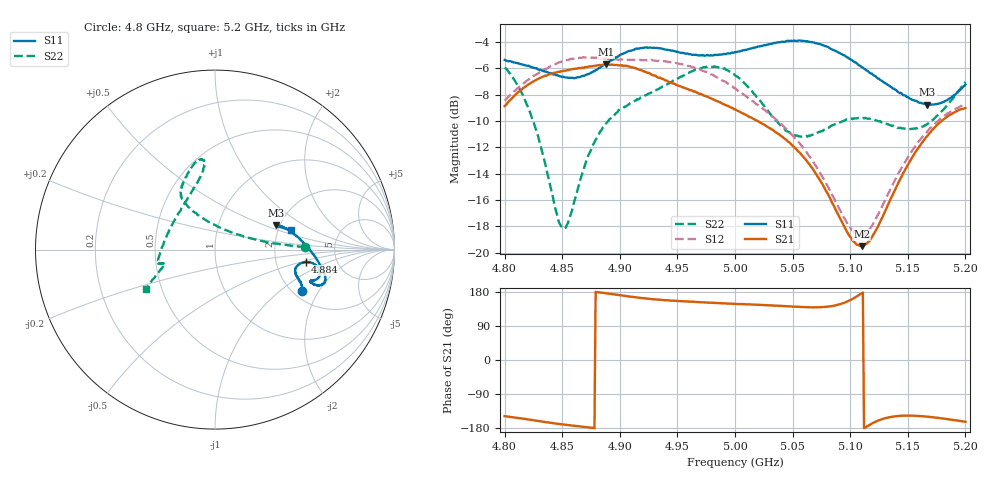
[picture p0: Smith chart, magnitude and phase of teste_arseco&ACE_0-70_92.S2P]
! Network Analyzer HP8722D
! Hewlett-Packard
! Data name: Linha & Wilkinson
! Saver's name: Rodrigo Anjos
! Comments: Teste da utilização de aquisição
! continua pelo VNA HP8722D
! Time and date: 8/5/2025 13:31
!  Frequency  S11  S21  S12  S22
# HZ  S  MA R 50
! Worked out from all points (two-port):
!   401 points, 4.8 GHz to 5.2 GHz, reference 50 ohm
!   highest |S21| = -5.70 dB at 4.888 GHz (marker M1); lowest = -19.5 dB at 5.11 GHz (marker M2)
!   |S21| within 3 dB of the highest: 4.802 GHz to 4.989 GHz (187.4 MHz wide, 3.83 % of centre)
!   lowest |S11| = -8.8 dB at 5.167 GHz (marker M3), VSWR 2.15, Z = 95 + j29.7 ohm
!   |S11| at or under -10 dB: nowhere
!   |S22| runs from -18.2 to -5.8 dB; largest |S21 - S12| = 1.1
!   S11 on the Smith chart (normalised r, x): 4.8 GHz: 2.24, -1.46; 4.884 GHz: 2.96, -0.54; 5.2 GHz: 2.33, +0.64
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4.8e9  0.5392 -25.5  0.36 -148.2  0.3775 11.3  0.5036 1.6
4.813e9  0.5218 -22.1  0.4103 -153.5  0.4268 9.3  0.4192 3.2
4.824e9  0.5038 -20.6  0.4444 -158.5  0.4647 7.5  0.3217 6.4
4.849e9  0.4663 -16.3  0.4884 -169.4  0.5309 3.8  0.1262 56.4
4.855e9  0.4617 -14.6  0.4937 -171.7  0.5391 2.9  0.1294 84.0
4.867e9  0.4677 -11.2  0.5037 -176.0  0.5497 1.2  0.1974 113.0
4.884e9  0.509 -7.6  0.5155 177.7  0.5461 -0.2  0.2914 122.4
4.888e9  0.5222 -7.8  0.5188 176.1  0.5468 -0.4  0.309 122.7
4.913e9  0.5926 -10.9  0.5021 165.8  0.5401 0.1  0.3773 120.1
4.934e9  0.598 -15.3  0.4612 158.8  0.5359 -0.8  0.4187 114.2
4.975e9  0.5611 -18.3  0.3925 151.7  0.4861 -4.4  0.508 100.2
5e9  0.5772 -19.2  0.3501 147.9  0.4214 -4.5  0.4713 97.4
5.018e9  0.6022 -19.1  0.3181 146.1  0.3673 -2.1  0.3942 103.8
5.046e9  0.6374 -17.0  0.264 141.7  0.2912 4.0  0.2879 134.0
5.067e9  0.6294 -13.3  0.2095 139.1  0.2247 9.7  0.2799 164.0
5.099e9  0.5449 -2.6  0.1162 156.4  0.1265 37.9  0.3214 -169.7
5.11e9  0.5065 2.6  0.1058 176.1  0.1166 59.7  0.3239 -166.5
5.119e9  0.4787 7.1  0.1146 -167.3  0.1266 77.1  0.3206 -165.8
5.134e9  0.43 14.3  0.1559 -151.1  0.1705 94.8  0.3054 -165.6
5.167e9  0.3645 21.9  0.2774 -149.6  0.2889 103.1  0.3083 -161.4
5.183e9  0.3775 19.9  0.3251 -155.4  0.334 103.2  0.3578 -156.4
5.2e9  0.435 14.7  0.354 -163.0  0.3663 103.5  0.4454 -150.2
